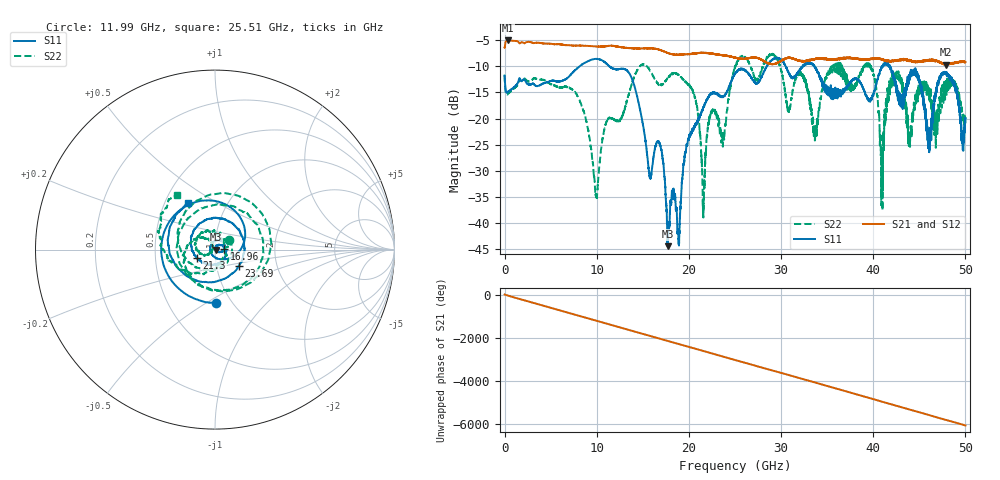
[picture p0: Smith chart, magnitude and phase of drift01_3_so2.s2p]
!Created with skrf (http://scikit-rf.org).
# Hz S RI R 50.0
!freq ReS11 ImS11 ReS21 ImS21 ReS12 ImS12 ReS22 ImS22
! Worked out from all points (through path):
!   10001 points, 300 kHz to 50 GHz, reference 50 ohm
!   highest |S21| = -5.05 dB at 325.3 MHz (marker M1); lowest = -9.7 dB at 47.85 GHz (marker M2)
!   group delay of S21, straight-line fit = 336 ps
!   lowest |S11| = -44.4 dB at 17.69 GHz (marker M3), VSWR 1.01, Z = 50.6 - j0.117 ohm
!   |S11| at or under -10 dB: start of sweep to 8.135 GHz; 11.39 GHz to 28.45 GHz (17.07 GHz wide, 85.7 % of centre); 41.79 GHz to end of sweep (the widest 3 of 13)
!   |S22| runs from -39.0 to -7.6 dB; largest |S21 - S12| = 0.014
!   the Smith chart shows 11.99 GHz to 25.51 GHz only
!   S11 on the Smith chart (normalised r, x): 11.99 GHz: 0.85, -0.55; 16.96 GHz: 1.11, +0.01; 21.3 GHz: 0.81, -0.07; 23.69 GHz: 1.28, -0.24; 25.51 GHz: 0.66, +0.37
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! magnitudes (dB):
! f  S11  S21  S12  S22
! 300 kHz  -11.8  -6.4  -6.4  -11.7
! 325.3 MHz  -15.0  -5.0  -5.1  -15.4
! 8.335 GHz  -9.7  -6.0  -6.0  -17.4
! 9.935 GHz  -8.6  -6.2  -6.2  -34.6
! 11.99 GHz  -10.6  -6.2  -6.1  -20.2
! 15.77 GHz  -31.2  -6.6  -6.6  -10.8
! 16.67 GHz  -24.3  -6.8  -6.8  -13.4
! 16.96 GHz  -25.7  -6.9  -6.9  -13.5
! 17.69 GHz  -44.4  -7.4  -7.4  -12.3
! 18.92 GHz  -43.7  -7.7  -7.8  -11.7
! 20.38 GHz  -22.1  -7.6  -7.6  -14.4
! 21.3 GHz  -19.2  -7.4  -7.4  -25.7
! 23.69 GHz  -15.9  -7.9  -7.9  -25.3
! 25 GHz  -11.4  -8.3  -8.4  -10.2
! 25.51 GHz  -10.5  -8.5  -8.5  -8.6
! 33.34 GHz  -9.5  -8.8  -8.7  -19.6
! 39.51 GHz  -16.5  -8.7  -8.6  -10.1
! 40.94 GHz  -9.9  -8.6  -8.7  -27.7
! 41.67 GHz  -9.9  -8.9  -9.0  -15.1
! 46.06 GHz  -25.5  -8.8  -8.8  -14.3
! 47.85 GHz  -11.5  -9.7  -9.6  -13.5
! 50 GHz  -20.7  -9.2  -9.2  -20.0
